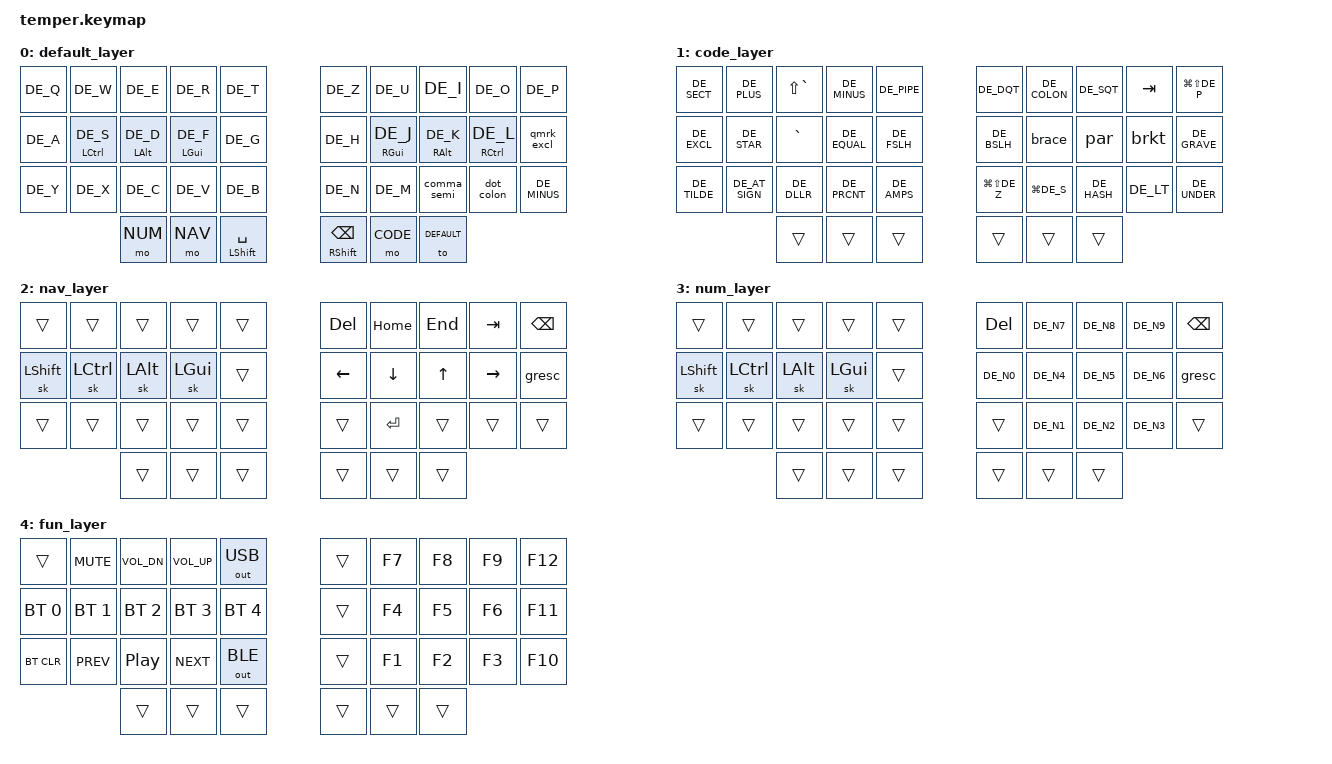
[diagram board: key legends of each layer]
/*
 * Copyright (c) 2020 The ZMK Contributors
 *
 * SPDX-License-Identifier: MIT
 */

#include <behaviors.dtsi>
#include <dt-bindings/zmk/keys.h>
#include <dt-bindings/zmk/bt.h>
#include <dt-bindings/zmk/outputs.h>
#include <locale/keys_de.h>

#define DEFAULT 0
#define CODE 1
#define NAV 2
#define NUM 3
#define FUN 4

/* Adjustments for Mac layout */

/* @ - On Mac (German), @ is usually Alt (Right Option) + L */
#undef DE_AT_SIGN
#define DE_AT_SIGN (RA(ZMK_HID_USAGE(HID_USAGE_KEY, HID_USAGE_KEY_KEYBOARD_L)))

/* [ - On Mac (German), [ is Alt + 5 */
#undef DE_LEFT_BRACKET
#define DE_LEFT_BRACKET (RA(ZMK_HID_USAGE(HID_USAGE_KEY, HID_USAGE_KEY_KEYBOARD_5_AND_PERCENT)))

/* ] - On Mac (German), ] is Alt + 6 */
#undef DE_RIGHT_BRACKET
#define DE_RIGHT_BRACKET (RA(ZMK_HID_USAGE(HID_USAGE_KEY, HID_USAGE_KEY_KEYBOARD_6_AND_CARET)))

/* { - On Mac (German), { is Alt + 8 */
#undef DE_LEFT_BRACE
#define DE_LEFT_BRACE (RA(ZMK_HID_USAGE(HID_USAGE_KEY, HID_USAGE_KEY_KEYBOARD_8_AND_ASTERISK)))

/* } - On Mac (German), } is Alt + 9 */
#undef DE_RIGHT_BRACE
#define DE_RIGHT_BRACE (RA(ZMK_HID_USAGE(HID_USAGE_KEY, HID_USAGE_KEY_KEYBOARD_9_AND_LEFT_PARENTHESIS)))

/* \ - On Mac (German), \ is Alt + Shift + 7 */
#undef DE_BACKSLASH
#define DE_BACKSLASH (RA(LS(ZMK_HID_USAGE(HID_USAGE_KEY, HID_USAGE_KEY_KEYBOARD_7_AND_AMPERSAND))))

/* | - On Mac (German), | is Alt + 7 */
#undef DE_PIPE
#define DE_PIPE (RA(ZMK_HID_USAGE(HID_USAGE_KEY, HID_USAGE_KEY_KEYBOARD_7_AND_AMPERSAND)))

/* ~ - On Mac (German), ~ is Alt + N */
#undef DE_TILDE
#define DE_TILDE (RA(ZMK_HID_USAGE(HID_USAGE_KEY, HID_USAGE_KEY_KEYBOARD_N)))

# define ______ &trans

/ {
    conditional_layers {
        compatible = "zmk,conditional-layers";
        tri_layer {
            if-layers = <CODE NAV>;
            then-layer = <FUN>;
        };
    };

  combos {
    compatible = "zmk,combos";
    combo_esc {
        timeout-ms = <50>;
        key-positions = <12 13>;
        bindings = <&kp ESC>;
        };
    combo_enter {
      timeout-ms = <50>;
      key-positions = <16 17>;
      bindings = <&kp ENTER>;
    };
    };

    behaviors {

        hml: home_row_mod_left {
            compatible = "zmk,behavior-hold-tap";
            #binding-cells = <2>;
            flavor = "balanced";
            require-prior-idle-ms = <150>;
            tapping-term-ms = <280>;
            quick-tap-ms = <175>;
            bindings = <&kp>, <&kp>;
            hold-trigger-key-positions = <1 2 3 4 5 11 12 13 14 15 21 22 23 24 25 31 32 33>; // List of keys on the right side of the keyboard
            hold-trigger-on-release;
        };
        hmr: home_row_mod_right {
            compatible = "zmk,behavior-hold-tap";
            #binding-cells = <2>;
            flavor = "balanced";
            require-prior-idle-ms = <150>;
            tapping-term-ms = <280>;
            quick-tap-ms = <175>;
            bindings = <&kp>, <&kp>;
            hold-trigger-key-positions = <6 7 8 9 10 16 17 18 19 20 26 26 28 29 30 34 35 36>; // List of keys on the left side of the keyboard
            hold-trigger-on-release;
        };

        smart_shft: smart_shift {
            compatible = "zmk,behavior-mod-morph";
            #binding-cells = <0>;
            bindings = <&kp LSHFT>, <&caps_word>;
            mods = <(MOD_LSFT)>;
        };

        comma_semi: comma_semi {
            compatible = "zmk,behavior-mod-morph";
            #binding-cells = <0>;
            bindings = <&kp DE_COMMA>, <&kp DE_SEMI>;
            mods = <(MOD_LSFT)>;
        };

        dot_colon: dot_colon {
            compatible = "zmk,behavior-mod-morph";
            #binding-cells = <0>;
            bindings = <&kp DE_DOT>, <&kp DE_COLON>;
            mods = <(MOD_LSFT)>;
        };

        qmrk_excl: qmrk_excl {
            compatible = "zmk,behavior-mod-morph";
            #binding-cells = <0>;
            bindings = <&kp DE_QMARK>, <&kp DE_EXCL>;
            mods = <(MOD_LSFT)>;
        };

        slh_morph: slh_morph {
            compatible = "zmk,behavior-mod-morph";
            #binding-cells = <0>;
            bindings = <&kp DE_FSLH>, <&kp DE_BSLH>;
            mods = <(MOD_LSFT)>;
        };

        amps_morph: amps_morph {
            compatible = "zmk,behavior-mod-morph";
            #binding-cells = <0>;
            bindings = <&kp DE_AMPS>, <&kp DE_PIPE>;
            mods = <(MOD_LSFT)>;
        };

        hash_apos: hash_apos {
            compatible = "zmk,behavior-mod-morph";
            #binding-cells = <0>;
            bindings = <&kp DE_HASH>, <&kp DE_APOS>;
            mods = <(MOD_LSFT)>;
        };

        par: lpar_rpar {
            compatible = "zmk,behavior-mod-morph";
            #binding-cells = <0>;
            bindings = <&kp DE_LPAR>, <&kp DE_RPAR>;
            mods = <(MOD_LSFT)>;
        };

        brkt: lbkt_rbkt {
            compatible = "zmk,behavior-mod-morph";
            #binding-cells = <0>;
            bindings = <&kp DE_LEFT_BRACKET>, <&kp DE_RIGHT_BRACKET>;
            mods = <(MOD_LSFT)>;
        };

        brace: lbrace_rbrace {
            compatible = "zmk,behavior-mod-morph";
            #binding-cells = <0>;
            bindings = <&kp DE_LEFT_BRACE>, <&kp DE_RIGHT_BRACE>;
            mods = <(MOD_LSFT)>;
        };
    };
        keymap {
                compatible = "zmk,keymap";

                default_layer {
                        bindings = <
// ╭─────────────┬─────────────┬─────────────┬─────────────┬─────────────╮   ╭─────────────┬─────────────┬─────────────┬─────────────┬─────────────╮
       &kp DE_Q      &kp DE_W      &kp DE_E      &kp DE_R      &kp DE_T          &kp DE_Z      &kp DE_U      &kp DE_I      &kp DE_O      &kp DE_P   
// ├─────────────┼─────────────┼─────────────┼─────────────┼─────────────┤   ├─────────────┼─────────────┼─────────────┼─────────────┼─────────────┤
       &kp DE_A  &hml LCTRL DE_S  &hml LALT  DE_D &hml LGUI DE_F  &kp DE_G     &kp DE_H   &hmr RGUI DE_J &hmr RALT DE_K &hmr RCTRL DE_L &qmrk_excl
// ├─────────────┼─────────────┼─────────────┼─────────────┼─────────────┤   ├─────────────┼─────────────┼─────────────┼─────────────┼─────────────┤
       &kp DE_Y      &kp DE_X      &kp DE_C      &kp DE_V      &kp DE_B          &kp DE_N      &kp DE_M    &comma_semi    &dot_colon   &kp DE_MINUS
// ╰─────────────┴─────────────┼─────────────┼─────────────┼─────────────┤   ├─────────────┼─────────────┼─────────────┼─────────────┴─────────────╯
                                   &mo NUM       &mo NAV  &mt LSHFT SPACE    &mt RSHFT BSPC  &mo CODE     &to DEFAULT
//                             ╰─────────────┴─────────────┴─────────────╯   ╰─────────────┴─────────────┴─────────────╯
                        >;
                };

            code_layer {
                bindings = <
// ╭─────────────┬─────────────┬─────────────┬─────────────┬─────────────╮   ╭─────────────┬─────────────┬─────────────┬─────────────┬─────────────╮
     &kp DE_SECT  &kp DE_PLUS   &kp LS(GRAVE)  &kp DE_MINUS  &kp DE_PIPE        &kp DE_DQT  &kp DE_COLON   &kp DE_SQT     &kp TAB   &kp LG(LS(DE_P))
// ├─────────────┼─────────────┼─────────────┼─────────────┼─────────────┤   ├─────────────┼─────────────┼─────────────┼─────────────┼─────────────┤
     &kp DE_EXCL   &kp DE_STAR   &kp GRAVE    &kp DE_EQUAL  &kp DE_FSLH        &kp DE_BSLH     &brace        &par           &brkt     &kp DE_GRAVE
// ├─────────────┼─────────────┼─────────────┼─────────────┼─────────────┤   ├─────────────┼─────────────┼─────────────┼─────────────┼─────────────┤
     &kp DE_TILDE &kp DE_AT_SIGN &kp DE_DLLR   &kp DE_PRCNT   &kp DE_AMPS    &kp LG(LS(DE_Z)) &kp LG(DE_S)  &kp DE_HASH   &kp DE_LT     &kp DE_UNDER
// ╰─────────────┴─────────────┼─────────────┼─────────────┼─────────────┤   ├─────────────┼─────────────┼─────────────┼─────────────┴─────────────╯
                                  ______        ______        ______              ______        ______        ______
//                             ╰─────────────┴─────────────┴─────────────╯   ╰─────────────┴─────────────┴─────────────╯
                        >;
};

                nav_layer {
                        bindings = <
// ╭─────────────┬─────────────┬─────────────┬─────────────┬─────────────╮   ╭─────────────┬─────────────┬─────────────┬─────────────┬─────────────╮
        ______        ______        ______        ______        ______           &kp DEL       &kp HOME      &kp END       &kp TAB       &kp BSPC
// ├─────────────┼─────────────┼─────────────┼─────────────┼─────────────┤   ├─────────────┼─────────────┼─────────────┼─────────────┼─────────────┤
      &sk LSHFT     &sk LCTRL      &sk LALT      &sk LGUI       ______           &kp LEFT      &kp DOWN       &kp UP      &kp RIGHT       &gresc
// ├─────────────┼─────────────┼─────────────┼─────────────┼─────────────┤   ├─────────────┼─────────────┼─────────────┼─────────────┼─────────────┤
        ______        ______        ______        ______        ______            ______        &kp RET       ______        ______        ______
// ╰─────────────┴─────────────┼─────────────┼─────────────┼─────────────┤   ├─────────────┼─────────────┼─────────────┼─────────────┴─────────────╯
                                    ______        ______        ______            ______        ______        ______
//                             ╰─────────────┴─────────────┴─────────────╯   ╰─────────────┴─────────────┴─────────────╯
                        >;
                };

                num_layer {
                        bindings = <
// ╭─────────────┬─────────────┬─────────────┬─────────────┬─────────────╮   ╭─────────────┬─────────────┬─────────────┬─────────────┬─────────────╮
        ______        ______        ______        ______        ______           &kp DEL      &kp DE_N7     &kp DE_N8    &kp DE_N9       &kp BSPC
// ├─────────────┼─────────────┼─────────────┼─────────────┼─────────────┤   ├─────────────┼─────────────┼─────────────┼─────────────┼─────────────┤
      &sk LSHFT     &sk LCTRL      &sk LALT      &sk LGUI       ______           &kp DE_N0     &kp DE_N4    &kp DE_N5      &kp DE_N6       &gresc
// ├─────────────┼─────────────┼─────────────┼─────────────┼─────────────┤   ├─────────────┼─────────────┼─────────────┼─────────────┼─────────────┤
        ______        ______        ______        ______        ______            ______       &kp DE_N1    &kp DE_N2     &kp DE_N3      ______
// ╰─────────────┴─────────────┼─────────────┼─────────────┼─────────────┤   ├─────────────┼─────────────┼─────────────┼─────────────┴─────────────╯
                                    ______        ______        ______            ______        ______        ______
//                             ╰─────────────┴─────────────┴─────────────╯   ╰─────────────┴─────────────┴─────────────╯
                        >;
                };

                fun_layer {
                        bindings = <
// ╭─────────────┬─────────────┬─────────────┬─────────────┬─────────────╮   ╭─────────────┬─────────────┬─────────────┬─────────────┬─────────────╮
        ______     &kp K_MUTE    &kp C_VOL_DN  &kp C_VOL_UP  &out OUT_USB         ______        &kp F7        &kp F8        &kp F9       &kp F12
// ├─────────────┼─────────────┼─────────────┼─────────────┼─────────────┤   ├─────────────┼─────────────┼─────────────┼─────────────┼─────────────┤
     &bt BT_SEL 0  &bt BT_SEL 1  &bt BT_SEL 2  &bt BT_SEL 3  &bt BT_SEL 4         ______        &kp F4        &kp F5        &kp F6       &kp F11
// ├─────────────┼─────────────┼─────────────┼─────────────┼─────────────┤   ├─────────────┼─────────────┼─────────────┼─────────────┼─────────────┤
      &bt BT_CLR    &kp C_PREV     &kp C_PP     &kp C_NEXT   &out OUT_BLE         ______        &kp F1        &kp F2        &kp F3       &kp F10
// ╰─────────────┴─────────────┼─────────────┼─────────────┼─────────────┤   ├─────────────┼─────────────┼─────────────┼─────────────┴─────────────╯
                                    ______        ______        ______            ______        ______        ______
//                             ╰─────────────┴─────────────┴─────────────╯   ╰─────────────┴─────────────┴─────────────╯
                        >;
                };
        };
};
